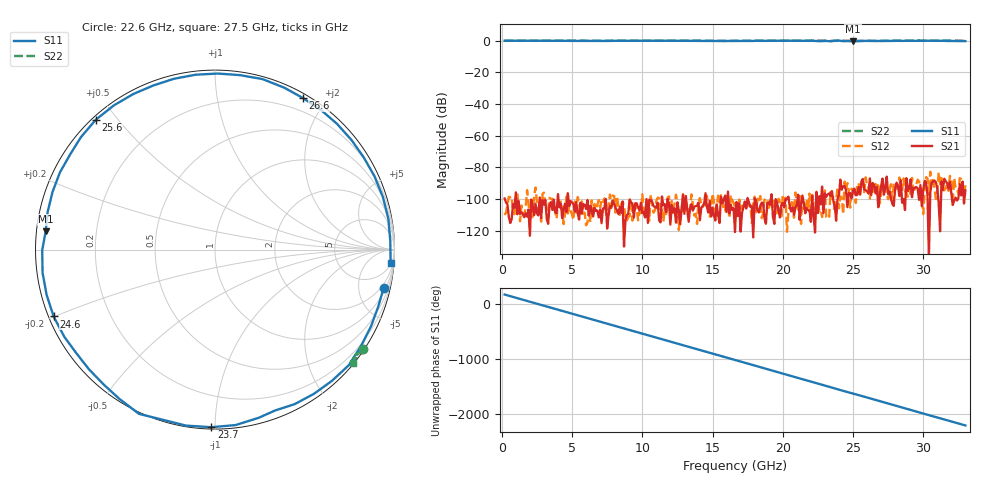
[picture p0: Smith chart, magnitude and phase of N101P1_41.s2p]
# GHZ S RI R 50
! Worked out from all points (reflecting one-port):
!   329 points, 200 MHz to 33 GHz, reference 50 ohm
!   lowest |S11| = -0.5 dB at 25 GHz (marker M1), VSWR 38.15, Z = 1.31 + j2.71 ohm
!   phase of S11 starts at 165 deg and turns -2368 deg over the sweep
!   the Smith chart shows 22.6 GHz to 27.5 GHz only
!   S11 on the Smith chart (normalised r, x): 22.6 GHz: 1.43, -8.59; 23.7 GHz: 0.01, -0.98; 24.6 GHz: 0.01, -0.20; 25.6 GHz: 0.01, +0.44; 26.6 GHz: 0.05, +1.73; 27.5 GHz: 7, -25
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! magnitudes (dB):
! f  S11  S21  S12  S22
! 200 MHz  0.0  -99.7  -110.1  0.0
! 5.7 GHz  -0.1  -109.2  -101.6  -0.1
! 11.2 GHz  0.0  -113.6  -99.7  0.0
! 16.6 GHz  -0.2  -121.0  -105.0  -0.1
! 22.1 GHz  -0.1  -98.1  -97.4  0.1
! 22.6 GHz  -0.3  -98.3  -107.9  -0.1
! 23 GHz  -0.1  -96.6  -94.6  0.0
! 23.4 GHz  -0.4  -98.3  -95.6  -0.2
! 23.7 GHz  -0.1  -104.5  -108.1  0.0
! 24 GHz  0.1  -97.3  -106.0  0.1
! 24.3 GHz  -0.3  -92.1  -109.7  -0.1
! 24.6 GHz  -0.2  -105.2  -90.1  -0.1
! 25 GHz  -0.5  -94.6  -95.5  -0.2
! 25.6 GHz  -0.2  -89.0  -89.8  -0.2
! 26.6 GHz  -0.2  -96.5  -90.6  -0.2
! 27.5 GHz  -0.2  -96.9  -100.2  -0.1
! 27.6 GHz  -0.1  -95.1  -94.9  0.0
! 29.6 GHz  0.0  -93.2  -87.9  0.1
! 31.1 GHz  -0.1  -102.9  -83.2  0.1
! 31.4 GHz  -0.1  -94.2  -94.6  -0.1
! 32 GHz  -0.2  -96.5  -88.3  0.1
! 33 GHz  -0.3  -94.6  -91.4  -0.2
